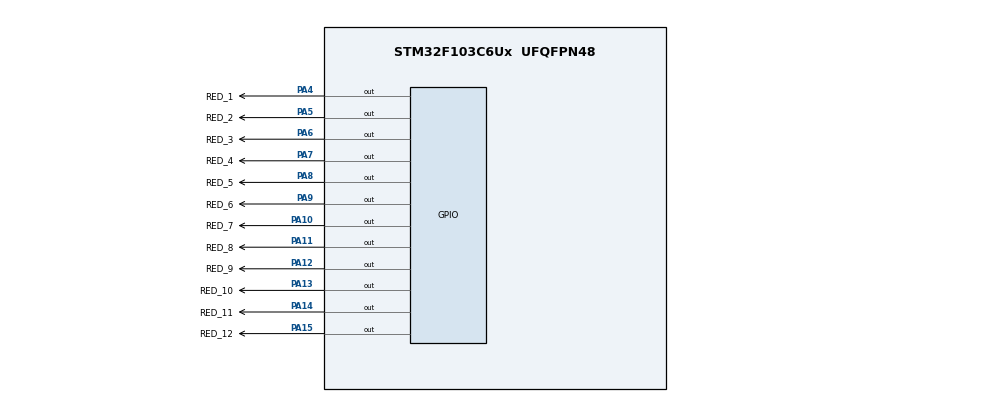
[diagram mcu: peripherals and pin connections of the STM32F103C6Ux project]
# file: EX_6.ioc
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Mcu.Family=STM32F1
Mcu.Name=STM32F103C6Ux
Mcu.Package=UFQFPN48
NVIC.PriorityGroup=NVIC_PRIORITYGROUP_4
PA10.GPIO_Label=RED_7
PA10.Signal=GPIO_Output
PA11.GPIO_Label=RED_8
PA11.Signal=GPIO_Output
PA12.GPIO_Label=RED_9
PA12.Signal=GPIO_Output
PA13.GPIO_Label=RED_10
PA13.Signal=GPIO_Output
PA14.GPIO_Label=RED_11
PA14.Signal=GPIO_Output
PA15.GPIO_Label=RED_12
PA15.Signal=GPIO_Output
PA4.GPIO_Label=RED_1
PA4.Signal=GPIO_Output
PA5.GPIO_Label=RED_2
PA5.Signal=GPIO_Output
PA6.GPIO_Label=RED_3
PA6.Signal=GPIO_Output
PA7.GPIO_Label=RED_4
PA7.Signal=GPIO_Output
PA8.GPIO_Label=RED_5
PA8.Signal=GPIO_Output
PA9.GPIO_Label=RED_6
PA9.Signal=GPIO_Output
ProjectManager.HeapSize=0x200
ProjectManager.StackSize=0x400
ProjectManager.TargetToolchain=STM32CubeIDE
RCC.APB1Freq_Value=8000000
RCC.APB2Freq_Value=8000000
VP_SYS_VS_ND.Mode=No_Debug
board=custom

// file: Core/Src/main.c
/* USER CODE BEGIN Header */
/**
  ******************************************************************************
  * @file           : main.c
  * @brief          : Main program body
  ******************************************************************************
  * @attention
  *
  * <h2><center>&copy; Copyright (c) 2026 STMicroelectronics.
  * All rights reserved.</center></h2>
  *
  * This software component is licensed by ST under BSD 3-Clause license,
  * the "License"; You may not use this file except in compliance with the
  * License. You may obtain a copy of the License at:
  *                        opensource.org/licenses/BSD-3-Clause
  *
  ******************************************************************************
  */
/* USER CODE END Header */
#include "main.h"

void SystemClock_Config(void);
static void MX_GPIO_Init(void);
/* USER CODE BEGIN PFP */
void clearAllClock(void);
void setNumberOnClock(int num);
void clearNumberOnClock(int num);
/* USER CODE END PFP */

/* USER CODE BEGIN 0 */

/* One entry per LED, in the same order as your labels: RED_1 through RED_12 */
const uint16_t RED_PINS[12] = {
    RED_1_Pin, RED_2_Pin, RED_3_Pin, RED_4_Pin,
    RED_5_Pin, RED_6_Pin, RED_7_Pin, RED_8_Pin,
    RED_9_Pin, RED_10_Pin, RED_11_Pin, RED_12_Pin
};

/* Indexed by TRUE clock position: [0]=12 o'clock, [1]=1 o'clock, ... [11]=11 o'clock */
const uint16_t CLOCK_PINS[12] = {
    RED_2_Pin,   /* 12 */
    RED_3_Pin,   /* 1  */
    RED_10_Pin,  /* 2  */
    RED_11_Pin,  /* 3  */
    RED_12_Pin,  /* 4  */
    RED_9_Pin,   /* 5  */
    RED_8_Pin,   /* 6  */
    RED_7_Pin,   /* 7  */
    RED_6_Pin,   /* 8  */
    RED_5_Pin,   /* 9  */
    RED_4_Pin,   /* 10 */
    RED_1_Pin    /* 11 */
};

/* Exercise 7: turn every LED off */
void clearAllClock(void)
{
    for (int j = 0; j < 12; j++)
    {
        HAL_GPIO_WritePin(GPIOA, RED_PINS[j], GPIO_PIN_RESET);
    }
}

/* Exercise 8: turn on the LED for clock position num (0 to 11) */
void setNumberOnClock(int num)
{
    if (num < 0 || num > 11) return;
    HAL_GPIO_WritePin(GPIOA, CLOCK_PINS[num], GPIO_PIN_SET);
}

/* Exercise 9: turn off the LED for clock position num (0 to 11) */
void clearNumberOnClock(int num)
{
    if (num < 0 || num > 11) return;
    HAL_GPIO_WritePin(GPIOA, CLOCK_PINS[num], GPIO_PIN_RESET);
}

/* USER CODE END 0 */

int main(void)
{

  /* MCU Configuration--------------------------------------------------------*/

  /* Reset of all peripherals, Initializes the Flash interface and the Systick. */
  HAL_Init();

  /* Configure the system clock */
  SystemClock_Config();

  /* Initialize all configured peripherals */
  MX_GPIO_Init();
  /* USER CODE BEGIN 2 */
  int hours = 2;
  int minutes = 0;
  int seconds = 0;
  /* USER CODE END 2 */

  /* Infinite loop */
  /* USER CODE BEGIN WHILE */
  while (1)
  {
    int hourPos = hours % 12;   /* hour 0/12 -> LED at 12 o'clock */
    int minPos  = minutes / 5;  /* 60 minutes / 12 LEDs = 5 min per LED */
    int secPos  = seconds / 5;  /* 60 seconds / 12 LEDs = 5 sec per LED */

    clearAllClock();
    setNumberOnClock(hourPos);
    setNumberOnClock(minPos);
    setNumberOnClock(secPos);

    HAL_Delay(100);

    seconds ++ ;
    if (seconds >= 60)
    {
        seconds = 0;
        minutes++;
        if (minutes >= 60)
        {
            minutes = 0;
            hours++;
            if (hours >= 24) hours = 0;
        }
    }
    /* USER CODE END WHILE */

  }
}

void SystemClock_Config(void)
{
  RCC_OscInitTypeDef RCC_OscInitStruct = {0};
  RCC_ClkInitTypeDef RCC_ClkInitStruct = {0};

  /** Initializes the RCC Oscillators according to the specified parameters
  * in the RCC_OscInitTypeDef structure.
  */
  RCC_OscInitStruct.OscillatorType = RCC_OSCILLATORTYPE_HSI;
  RCC_OscInitStruct.HSIState = RCC_HSI_ON;
  RCC_OscInitStruct.HSICalibrationValue = RCC_HSICALIBRATION_DEFAULT;
  RCC_OscInitStruct.PLL.PLLState = RCC_PLL_NONE;
  if (HAL_RCC_OscConfig(&RCC_OscInitStruct) != HAL_OK)
  {
    Error_Handler();
  }
  /** Initializes the CPU, AHB and APB buses clocks
  */
  RCC_ClkInitStruct.ClockType = RCC_CLOCKTYPE_HCLK|RCC_CLOCKTYPE_SYSCLK
                              |RCC_CLOCKTYPE_PCLK1|RCC_CLOCKTYPE_PCLK2;
  RCC_ClkInitStruct.SYSCLKSource = RCC_SYSCLKSOURCE_HSI;
  RCC_ClkInitStruct.AHBCLKDivider = RCC_SYSCLK_DIV1;
  RCC_ClkInitStruct.APB1CLKDivider = RCC_HCLK_DIV1;
  RCC_ClkInitStruct.APB2CLKDivider = RCC_HCLK_DIV1;

  if (HAL_RCC_ClockConfig(&RCC_ClkInitStruct, FLASH_LATENCY_0) != HAL_OK)
  {
    Error_Handler();
  }
}

static void MX_GPIO_Init(void)
{
  GPIO_InitTypeDef GPIO_InitStruct = {0};

  /* GPIO Ports Clock Enable */
  __HAL_RCC_GPIOA_CLK_ENABLE();

  /*Configure GPIO pin Output Level */
  HAL_GPIO_WritePin(GPIOA, RED_1_Pin|RED_2_Pin|RED_3_Pin|RED_4_Pin
                          |RED_5_Pin|RED_6_Pin|RED_7_Pin|RED_8_Pin
                          |RED_9_Pin|RED_10_Pin|RED_11_Pin|RED_12_Pin, GPIO_PIN_RESET);

  /*Configure GPIO pins : RED_1_Pin RED_2_Pin RED_3_Pin RED_4_Pin
                           RED_5_Pin RED_6_Pin RED_7_Pin RED_8_Pin
                           RED_9_Pin RED_10_Pin RED_11_Pin RED_12_Pin */
  GPIO_InitStruct.Pin = RED_1_Pin|RED_2_Pin|RED_3_Pin|RED_4_Pin
                          |RED_5_Pin|RED_6_Pin|RED_7_Pin|RED_8_Pin
                          |RED_9_Pin|RED_10_Pin|RED_11_Pin|RED_12_Pin;
  GPIO_InitStruct.Mode = GPIO_MODE_OUTPUT_PP;
  GPIO_InitStruct.Pull = GPIO_NOPULL;
  GPIO_InitStruct.Speed = GPIO_SPEED_FREQ_LOW;
  HAL_GPIO_Init(GPIOA, &GPIO_InitStruct);

}

void Error_Handler(void)
{
  __disable_irq();
  while (1)
  {
  }
}

/************************ (C) COPYRIGHT STMicroelectronics *****END OF FILE****/
